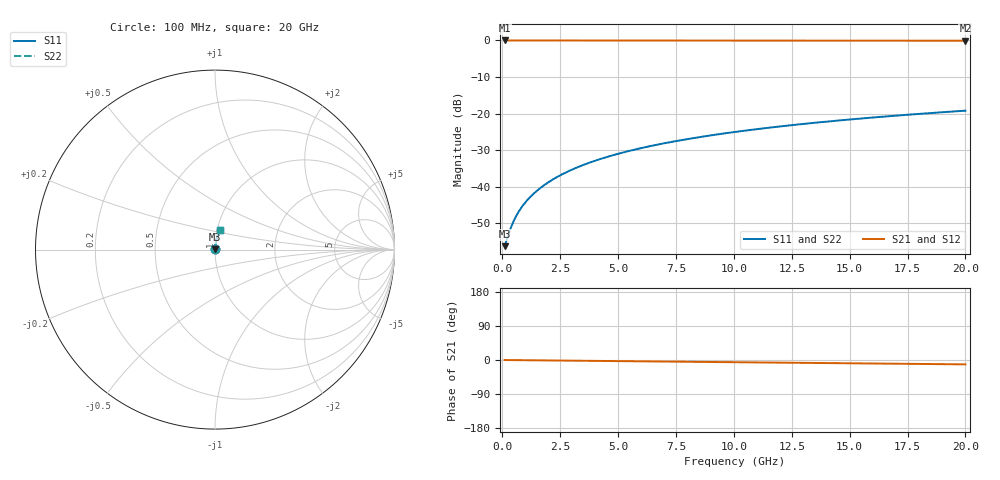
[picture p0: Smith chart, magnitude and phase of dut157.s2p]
! Touchstone file exported from HFSS 2026.1.0
!  File:  C:/ffzhzh/LocalFiles/Ansys_Project_Files/temp_train_TMRDL_157_1782983246_41620.aedt
!  Generated:  05:08:37 PM Jul  2, 2026
!  Design:  TMRDL
!  Project:  temp_train_TMRDL_157_1782983246_41620
! Variables:
!  h_bsmrdl = 2um
!  h_ox = 20um
!  h_rdl = 5um
!  h_sub = 80um
!  h_tmrdl = 2.03um
!  h_tsv = 80um
!  h_via = 3um
!  l_bsmrdl = 300um
!  l_sub = 535.74um
!  l_tmrdl = 135.74um
!  m_sub = 200um
!  pitch = 44.31um
!  r_tsv = 6um
!  s_tmrdl = 10um
!  w_bsmrdl = 18um
!  w_sub = 500um
!  w_tmrdl = 25.36um
!  x_tsv_center1 = 148.42um
!  x_tsv_center2 = 466.42um
!  x_tsv_center3 = 627.52um
!  x_tsv_center4 = 945.52um
!  x_tsv_center5 = 1106.62um
!  x_tsv_center6 = 1424.62um
# GHz S MA R 50.000000
! Terminal data exported
! Port[1] = TM_RDL1_1_T1
! Port[2] = TM_RDL1_1_T2
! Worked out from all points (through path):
!   200 points, 100 MHz to 20 GHz, reference 50 ohm
!   highest |S21| = -0.01 dB at 100 MHz (marker M1); lowest = -0.1 dB at 20 GHz (marker M2)
!   group delay of S21, straight-line fit = 1.6 ps
!   lowest |S11| = -56.2 dB at 100 MHz (marker M3), VSWR 1.00, Z = 50.1 + j0.0639 ohm
!   |S11| at or under -10 dB: start of sweep to end of sweep
!   |S22| runs from -56.2 to -19.2 dB; largest |S21 - S12| = 3.2e-15
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0.1  0.001543 24.4  0.9986 -0.1  0.9986 -0.1  0.001543 24.4
! Gamma 0 0 0 0
! Port Impedance 50 0 50 0
0.3  0.002395 51.7  0.9985 -0.2  0.9985 -0.2  0.002395 51.7
0.4  0.002917 58.2  0.9985 -0.2  0.9985 -0.2  0.002917 58.2
0.5  0.003452 62.5  0.9984 -0.3  0.9984 -0.3  0.003452 62.5
0.6  0.00399 65.6  0.9984 -0.4  0.9984 -0.4  0.00399 65.6
0.7  0.004528 68.0  0.9983 -0.4  0.9983 -0.4  0.004528 68.0
0.9  0.005603 71.4  0.9982 -0.5  0.9982 -0.5  0.005603 71.4
1.2  0.007219 74.8  0.9982 -0.7  0.9982 -0.7  0.007219 74.8
1.4  0.008301 76.4  0.9981 -0.8  0.9981 -0.8  0.008301 76.4
1.7  0.009935 78.1  0.9981 -1.0  0.9981 -1.0  0.009935 78.1
2.2  0.01268 80.0  0.998 -1.3  0.998 -1.3  0.01268 80.0
2.8  0.016 81.3  0.9979 -1.6  0.9979 -1.6  0.016 81.3
3.5  0.01988 82.2  0.9978 -2.0  0.9978 -2.0  0.01988 82.2
4.2  0.02377 82.6  0.9977 -2.5  0.9977 -2.5  0.02377 82.6
5  0.02822 82.8  0.9975 -2.9  0.9975 -2.9  0.02822 82.8
5.9  0.03322 82.8  0.9973 -3.4  0.9973 -3.4  0.03322 82.8
6.8  0.03822 82.6  0.997 -4.0  0.997 -4.0  0.03822 82.6
8.3  0.04651 82.2  0.9965 -4.8  0.9965 -4.8  0.04651 82.2
10.1  0.05641 81.5  0.9958 -5.9  0.9958 -5.9  0.05641 81.5
13.4  0.0744 80.0  0.9943 -7.8  0.9943 -7.8  0.0744 79.9
16.7  0.09215 78.3  0.9924 -9.7  0.9924 -9.7  0.09215 78.3
20  0.1096 76.5  0.9902 -11.5  0.9902 -11.5  0.1096 76.5
